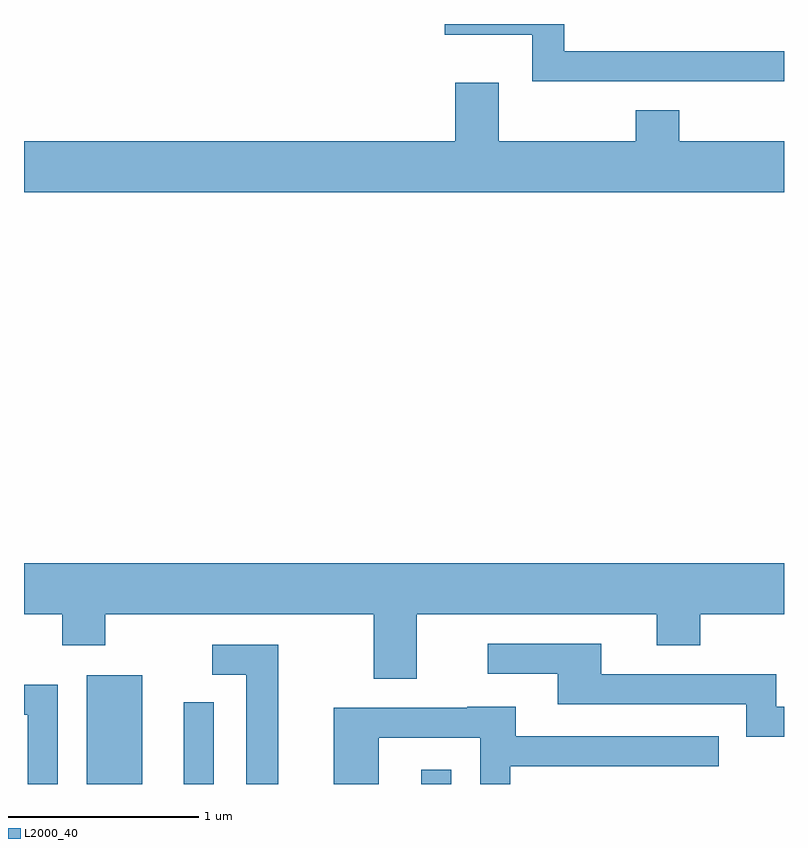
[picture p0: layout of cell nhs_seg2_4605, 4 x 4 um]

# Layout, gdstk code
import gdstk
lib = gdstk.Library(unit=1e-6, precision=1e-09)
def R(c, l, rs):  # rectangles x0, y0, x1, y1
    for r in rs: c.add(gdstk.rectangle(r[:2], r[2:], *l))
def P(c, l, *ps):  # polygons
    for p in ps: c.add(gdstk.Polygon(p, *l))
L2000_40 = (2000, 40)

nhs_seg2_4605 = lib.new_cell('nhs_seg2_4605')
R(nhs_seg2_4605, L2000_40, [(319.941,1111.802,320.234,1112.374), (320.451,1111.802,320.609,1112.233), (321.701,1111.802,321.859,1111.878)])
P(nhs_seg2_4605, L2000_40, [(323.611,1115.659),(322.454,1115.659),(322.454,1115.802),(321.826,1115.802),(321.826,1115.746),(322.286,1115.746),(322.286,1115.501),(323.611,1115.501)],
  [(323.611,1115.184),(323.059,1115.184),(323.059,1115.349),(322.831,1115.349),(322.831,1115.184),(322.109,1115.184),(322.109,1115.494),(321.881,1115.494),(321.881,1115.184),(319.611,1115.184),(319.611,1114.916),(323.611,1114.916)],
  [(321.679,1112.696),(322.941,1112.696),(322.941,1112.531),(323.169,1112.531),(323.169,1112.696),(323.611,1112.696),(323.611,1112.964),(319.611,1112.964),(319.611,1112.696),(319.811,1112.696),(319.811,1112.531),(320.039,1112.531),(320.039,1112.696),(321.451,1112.696),(321.451,1112.356),(321.679,1112.356)],
  [(323.611,1112.209),(323.569,1112.209),(323.569,1112.379),(322.649,1112.379),(322.649,1112.539),(322.053,1112.539),(322.053,1112.381),(322.421,1112.381),(322.421,1112.221),(323.411,1112.221),(323.411,1112.051),(323.611,1112.051)],
  [(320.949,1112.534),(320.603,1112.534),(320.603,1112.376),(320.781,1112.376),(320.781,1111.802),(320.949,1111.802)],
  [(319.789,1112.324),(319.611,1112.324),(319.611,1112.166),(319.631,1112.166),(319.631,1111.802),(319.789,1111.802)],
  [(321.479,1112.046),(322.011,1112.046),(322.011,1111.802),(322.169,1111.802),(322.169,1111.896),(323.268,1111.896),(323.268,1112.054),(322.199,1112.054),(322.199,1112.209),(321.945,1112.209),(321.945,1112.204),(321.241,1112.204),(321.241,1111.802),(321.479,1111.802)])

lib.write_gds('nhs_seg2_4605.gds')
